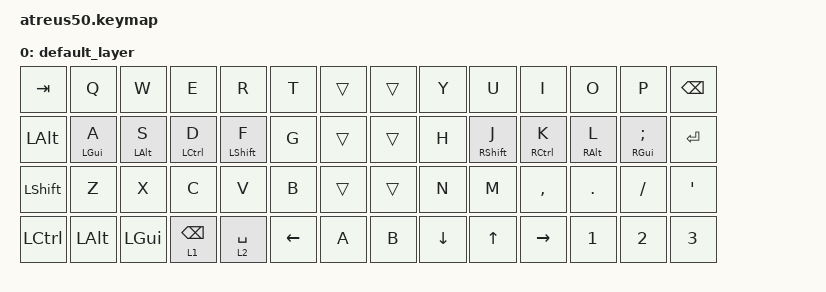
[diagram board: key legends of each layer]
/*
 * Copyright (c) 2020 The ZMK Contributors
 *
 * SPDX-License-Identifier: MIT
 */

#include <behaviors.dtsi>
#include <dt-bindings/zmk/keys.h>
#include <dt-bindings/zmk/bt.h>

#define DEFAULT 0
#define LOWER 1
#define RAISE 2

/ {
    behaviors {
        hm: homerow_mods {
            compatible = "zmk,behavior-hold-tap";
            label = "homerow mods";
            #binding-cells = <2>;
            tapping_term_ms = <225>;
            flavor = "tap-preferred";
            bindings = <&kp>, <&kp>;
        };
    };
};

/ {
    keymap {
        compatible = "zmk,keymap";

        default_layer {
            bindings = <
    &kp TAB   &kp Q       &kp W       &kp E       &kp R       &kp T   	&trans  &trans  &kp Y     &kp U       &kp I        &kp O        &kp P   		  &kp BSPC
    &kp LALT  &hm LGUI A  &hm LALT S  &hm LCTRL D &hm LSHFT F &kp G     &trans  &trans 	&kp H     &hm RSHFT J &hm RCTRL K  &hm RALT L   &hm RGUI SEMI &kp RET
    &kp LSHFT &kp Z       &kp X       &kp C       &kp V       &kp B     &trans  &trans 	&kp N     &kp M       &kp COMMA    &kp DOT      &kp FSLH     	&kp SQT
    &kp LCTRL &kp LALT    &kp LGUI    &lt 1 BSPC  &lt 2 SPACE &kp LEFT  &kp A	  &kp B 	&kp DOWN  &kp UP      &kp RIGHT    &kp 1        &kp 2         &kp 3
            >;
        };

        /*
        lower {
            bindings = <
    &kp GRAVE    &kp F1  &kp F2       &kp F3  &kp F4  &kp F5  &trans  &trans 	&kp F6        &kp F7        &kp F8        &kp F9       &kp F10     &kp F11     &kp F12  &kp PSCRN
    &kp DEL      &trans  &kp K_VOL_UP &trans  &trans  &trans  &trans  &trans	&trans        &kp LEFT      &kp DOWN      &kp UP       &kp RIGHT   &trans
    &trans       &trans  &kp K_VOL_DN &trans  &trans  &trans  &trans  &trans	&trans        &trans        &trans        &bt BT_PRV   &bt BT_NXT  &bt BT_CLR
    &bootloader  &reset  &trans       &trans  &trans  &trans  &trans  &trans	&bt BT_SEL 0  &bt BT_SEL 1  &bt BT_SEL 2  &bt BT_SEL 3
            >;
        };

    raise {
            bindings = <
    &kp GRAVE &kp N1     &kp N2     &kp N3     &kp N4     &kp N5     &kp N6      &kp N7       &kp N8       &kp N9     &kp N0     &kp PSCRN
    &kp DEL   &kp F1     &kp F2     &kp F3     &kp F4     &kp F5     &kp F6      &kp MINUS    &kp EQUAL    &kp LBKT   &kp RBKT   &kp BSLH
    &trans    &kp F7     &kp F8     &kp F9     &kp F10    &kp F11    &kp F12     &kp TILDE    &kp HOME     &kp PG_UP  &kp PG_DN  &kp END
    &trans    &trans     &trans     &trans     &trans     &trans     &kp C_NEXT  &kp C_VOL_DN &kp C_VOL_UP &kp C_PP
            >;
        };
        */
    };
};
